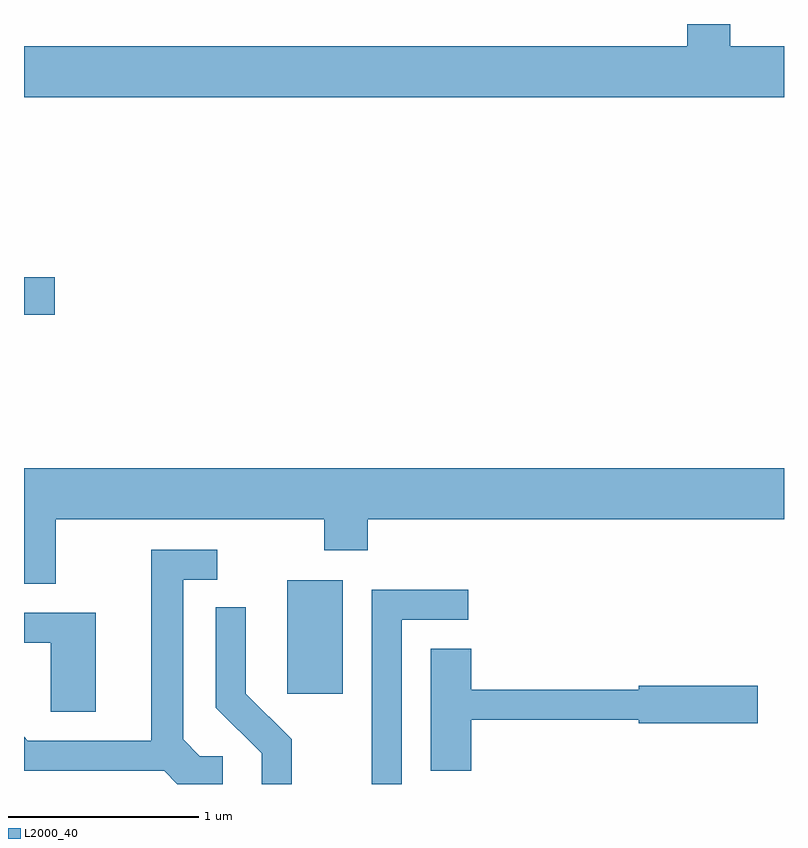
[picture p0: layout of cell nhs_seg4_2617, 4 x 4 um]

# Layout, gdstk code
import gdstk
lib = gdstk.Library(unit=1e-6, precision=1e-09)
def R(c, l, rs):  # rectangles x0, y0, x1, y1
    for r in rs: c.add(gdstk.rectangle(r[:2], r[2:], *l))
def P(c, l, *ps):  # polygons
    for p in ps: c.add(gdstk.Polygon(p, *l))
L2000_40 = (2000, 40)

nhs_seg4_2617 = lib.new_cell('nhs_seg4_2617')
R(nhs_seg4_2617, L2000_40, [(262.996,1320.456,263.289,1321.054), (261.611,1322.451,261.774,1322.649)])
P(nhs_seg4_2617, L2000_40, [(265.611,1323.864),(265.329,1323.864),(265.329,1323.982),(265.101,1323.982),(265.101,1323.864),(261.611,1323.864),(261.611,1323.596),(265.611,1323.596)],
  [(261.779,1321.376),(263.191,1321.376),(263.191,1321.211),(263.419,1321.211),(263.419,1321.376),(265.611,1321.376),(265.611,1321.644),(261.611,1321.644),(261.611,1321.036),(261.779,1321.036)],
  [(262.658,1320.129),(262.537,1320.129),(262.449,1320.217),(262.449,1321.056),(262.628,1321.056),(262.628,1321.214),(262.281,1321.214),(262.281,1320.209),(261.632,1320.209),(261.611,1320.23),(261.611,1320.051),(262.349,1320.051),(262.418,1319.982),(262.658,1319.982)],
  [(263.599,1320.846),(263.948,1320.846),(263.948,1321.004),(263.441,1321.004),(263.441,1319.982),(263.599,1319.982)],
  [(263.019,1320.217),(262.779,1320.457),(262.779,1320.913),(262.621,1320.913),(262.621,1320.384),(262.861,1320.144),(262.861,1319.982),(263.019,1319.982)],
  [(261.989,1320.884),(261.611,1320.884),(261.611,1320.726),(261.751,1320.726),(261.751,1320.361),(261.989,1320.361)],
  [(263.964,1320.321),(264.846,1320.321),(264.846,1320.301),(265.474,1320.301),(265.474,1320.499),(264.846,1320.499),(264.846,1320.479),(263.964,1320.479),(263.964,1320.694),(263.751,1320.694),(263.751,1320.051),(263.964,1320.051)])

lib.write_gds('nhs_seg4_2617.gds')
